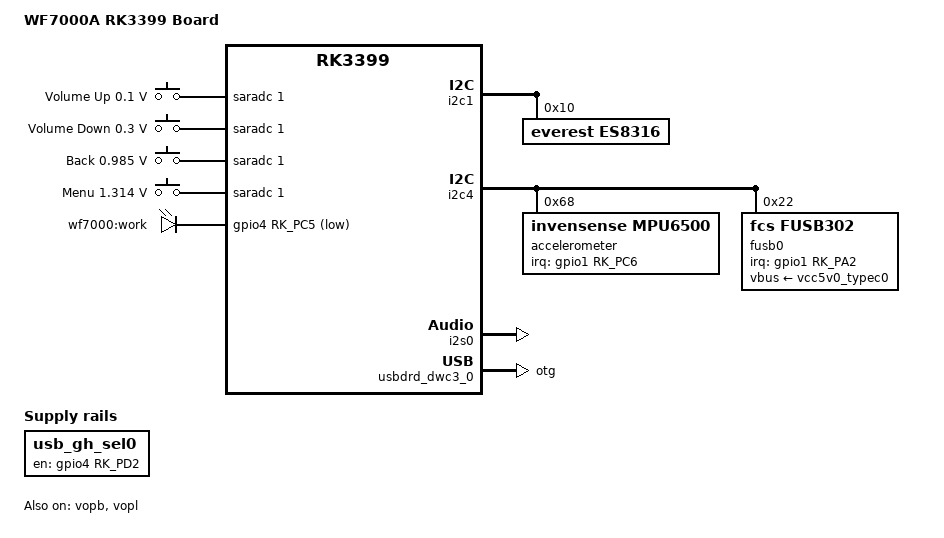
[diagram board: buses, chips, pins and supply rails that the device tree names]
// SPDX-License-Identifier: (GPL-2.0+ OR MIT)
/*
 * Device tree for the WF7000A RK3399 board.
 *
 * The WF7000A is a RK3399 board built on the Rockchip "Sapphire" baseboard
 * (RK808 PMIC, 4x/8x eMMC + microSD, RTL8211 GMAC, HDMI, gpio-fan, power
 * key).  Compared to the Rockchip "Excavator" reference design it differs in:
 *
 *   - Everest ES8316 codec on I2C1 + I2S0 (instead of Realtek RT5651)
 *   - FUSB302 Type-C port controller on I2C4 (Excavator has none)
 *   - a user/work LED on GPIO4_C5
 *   - a "usb_gh_sel0" fixed regulator on GPIO4_D2
 *   - eDP, PCIe, S/PDIF and SDIO/WiFi are not populated
 *   - USB3-OTG port 0 operates in OTG mode
 *
 * This file is written against mainline bindings only and is intended to be
 * built against the Armbian "rockchip64" 6.18.y kernel tree (or mainline).
 * It supersedes the vendor DTB that was reverse engineered into
 * rk3399-wf7000a-clean.dts.
 */

/dts-v1/;

#include "rk3399-sapphire.dtsi"

/ {
	model = "WF7000A RK3399 Board";
	compatible = "rockchip,rk3399-wf7000a", "rockchip,rk3399";

	/*
	 * pstore/ramoops console buffer, same layout as the Rockchip reference
	 * designs.  Kept inline (instead of including rk3399-ramoops.dtsi)
	 * because that file only exists in the Armbian/BSP tree, not in
	 * mainline, so this board file stays self-contained.
	 */
	reserved-memory {
		#address-cells = <2>;
		#size-cells = <2>;
		ranges;

		ramoops: ramoops@110000 {
			compatible = "ramoops";
			reg = <0x0 0x110000 0x0 0xf0000>;
			console-size = <0x80000>;
			ftrace-size = <0x00000>;
			pmsg-size = <0x50000>;
			record-size = <0x20000>;
		};
	};

	adc-keys {
		compatible = "adc-keys";
		io-channels = <&saradc 1>;
		io-channel-names = "buttons";
		keyup-threshold-microvolt = <1800000>;
		poll-interval = <100>;

		button-up {
			label = "Volume Up";
			linux,code = <KEY_VOLUMEUP>;
			press-threshold-microvolt = <100000>;
		};

		button-down {
			label = "Volume Down";
			linux,code = <KEY_VOLUMEDOWN>;
			press-threshold-microvolt = <300000>;
		};

		button-back {
			label = "Back";
			linux,code = <KEY_BACK>;
			press-threshold-microvolt = <985000>;
		};

		button-menu {
			label = "Menu";
			linux,code = <KEY_MENU>;
			press-threshold-microvolt = <1314000>;
		};
	};

	es8316-sound {
		compatible = "simple-audio-card";
		simple-audio-card,format = "i2s";
		simple-audio-card,mclk-fs = <256>;
		simple-audio-card,name = "rockchip,es8316-codec";
		simple-audio-card,widgets =
			"Microphone", "Mic Jack",
			"Headphone", "Headphone Jack";
		simple-audio-card,routing =
			"Mic Jack", "Mic Bias",
			"MIC1", "Mic Jack",
			"Headphone Jack", "HPOL",
			"Headphone Jack", "HPOR";
		simple-audio-card,cpu {
			sound-dai = <&i2s0>;
		};
		simple-audio-card,codec {
			sound-dai = <&es8316>;
		};
	};

	leds {
		compatible = "gpio-leds";

		work-led {
			label = "wf7000:work";
			gpios = <&gpio4 RK_PC5 GPIO_ACTIVE_LOW>;
			default-state = "off";
			linux,default-trigger = "none";
		};
	};

	usb-gh-sel0 {
		compatible = "regulator-fixed";
		regulator-name = "usb_gh_sel0";
		enable-active-high;
		gpio = <&gpio4 RK_PD2 GPIO_ACTIVE_HIGH>;
		regulator-always-on;
		regulator-boot-on;
	};
};

/*
 * eDP is not routed on this board.  The eDP output is only used to keep the
 * Sapphire/Excavator display pipeline description complete.
 */
&edp {
	status = "disabled";
};

&i2c1 {
	i2c-scl-rising-time-ns = <300>;
	i2c-scl-falling-time-ns = <15>;
	status = "okay";

	es8316: es8316@10 {
		compatible = "everest,es8316";
		reg = <0x10>;
		clocks = <&cru SCLK_I2S_8CH_OUT>;
		clock-names = "mclk";
		#sound-dai-cells = <0>;
	};
};

&i2c4 {
	i2c-scl-rising-time-ns = <600>;
	i2c-scl-falling-time-ns = <20>;
	status = "okay";

	accelerometer@68 {
		compatible = "invensense,mpu6500";
		reg = <0x68>;
		interrupt-parent = <&gpio1>;
		interrupts = <RK_PC6 IRQ_TYPE_EDGE_RISING>;
	};

	fusb0: usb-typec@22 {
		compatible = "fcs,fusb302";
		reg = <0x22>;
		interrupt-parent = <&gpio1>;
		interrupts = <RK_PA2 IRQ_TYPE_LEVEL_LOW>;
		pinctrl-names = "default";
		pinctrl-0 = <&fusb0_int>;
		vbus-supply = <&vcc5v0_typec0>;
		status = "okay";
	};
};

&i2s0 {
	rockchip,playback-channels = <8>;
	rockchip,capture-channels = <8>;
	status = "okay";
};

/* Not populated on this board */
&pcie0 {
	status = "disabled";
};

&pcie_phy {
	status = "disabled";
};

&sdio0 {
	status = "disabled";
};

&spdif {
	status = "disabled";
};

&pinctrl {
	usb2 {
		fusb0_int: fusb0-int {
			rockchip,pins = <1 RK_PA2 RK_FUNC_GPIO &pcfg_pull_up>;
		};
	};
};

/*
 * The Type-C port of the Sapphire design is powered from vcc5v0_typec0, on
 * this board the host port is fed by vcc5v0_host instead.
 */
&u2phy0_host {
	phy-supply = <&vcc5v0_host>;
};

/* USB3 port 0 is a real OTG port on this board */
&usbdrd_dwc3_0 {
	dr_mode = "otg";
};

/* Both VOPs are clocked from the 400/100 MHz ACLK/HCLK and drive DCLK from
 * the video PLLs, as required by the vendor firmware.
 */
&vopb {
	assigned-clocks = <&cru ACLK_VOP0>, <&cru HCLK_VOP0>, <&cru DCLK_VOP0_DIV>;
	assigned-clock-rates = <400000000>, <100000000>;
	assigned-clock-parents = <0>, <0>, <&cru PLL_VPLL>;
	status = "okay";
};

&vopl {
	assigned-clocks = <&cru ACLK_VOP1>, <&cru HCLK_VOP1>, <&cru DCLK_VOP1_DIV>;
	assigned-clock-rates = <400000000>, <100000000>;
	assigned-clock-parents = <0>, <0>, <&cru PLL_CPLL>;
	status = "okay";
};
